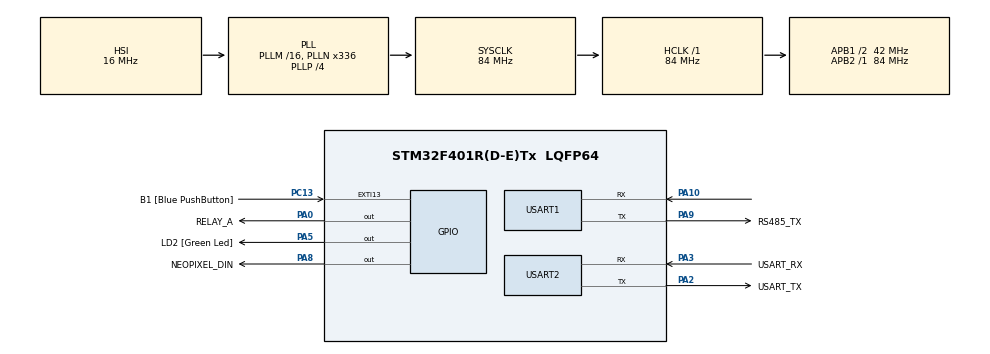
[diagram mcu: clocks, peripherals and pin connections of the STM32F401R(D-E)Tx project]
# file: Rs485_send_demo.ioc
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FREERTOS.Tasks01=defaultTask,24,128,StartDefaultTask,Default,NULL,Dynamic,NULL,NULL
Mcu.Family=STM32F4
Mcu.Name=STM32F401R(D-E)Tx
Mcu.Package=LQFP64
NVIC.PriorityGroup=NVIC_PRIORITYGROUP_4
PA0-WKUP.GPIO_Label=RELAY_A
PA0-WKUP.GPIO_Mode=GPIO_MODE_OUTPUT_PP
PA0-WKUP.GPIO_PuPd=GPIO_NOPULL
PA0-WKUP.GPIO_Speed=GPIO_SPEED_FREQ_LOW
PA0-WKUP.Signal=GPIO_Output
PA10.Mode=Asynchronous
PA10.Signal=USART1_RX
PA13.GPIO_Label=TMS
PA13.Mode=Trace_Asynchronous_SW
PA13.Signal=SYS_JTMS-SWDIO
PA14.GPIO_Label=TCK
PA14.Mode=Trace_Asynchronous_SW
PA14.Signal=SYS_JTCK-SWCLK
PA2.GPIO_Label=USART_TX
PA2.GPIO_Mode=GPIO_MODE_AF_PP
PA2.GPIO_PuPd=GPIO_NOPULL
PA2.GPIO_Speed=GPIO_SPEED_FREQ_LOW
PA2.Mode=Asynchronous
PA2.Signal=USART2_TX
PA3.GPIO_Label=USART_RX
PA3.GPIO_Mode=GPIO_MODE_AF_PP
PA3.GPIO_PuPd=GPIO_NOPULL
PA3.GPIO_Speed=GPIO_SPEED_FREQ_LOW
PA3.Mode=Asynchronous
PA3.Signal=USART2_RX
PA5.GPIO_Label=LD2 [Green Led]
PA5.GPIO_Mode=GPIO_MODE_OUTPUT_PP
PA5.GPIO_PuPd=GPIO_NOPULL
PA5.GPIO_Speed=GPIO_SPEED_FREQ_LOW
PA5.Signal=GPIO_Output
PA8.GPIO_Label=NEOPIXEL_DIN
PA8.GPIO_Speed=GPIO_SPEED_FREQ_VERY_HIGH
PA8.Signal=GPIO_Output
PA9.GPIO_Label=RS485_TX
PA9.GPIO_Mode=GPIO_MODE_AF_PP
PA9.GPIO_PuPd=GPIO_NOPULL
PA9.GPIO_Speed=GPIO_SPEED_FREQ_LOW
PA9.Mode=Asynchronous
PA9.Signal=USART1_TX
PB3.GPIO_Label=SWO
PB3.Mode=Trace_Asynchronous_SW
PB3.Signal=SYS_JTDO-SWO
PC13-ANTI_TAMP.GPIO_Label=B1 [Blue PushButton]
PC13-ANTI_TAMP.GPIO_ModeDefaultEXTI=GPIO_MODE_IT_FALLING
PC13-ANTI_TAMP.GPIO_PuPd=GPIO_NOPULL
PC13-ANTI_TAMP.Signal=GPXTI13
PC14-OSC32_IN.Mode=LSE-External-Oscillator
PC14-OSC32_IN.Signal=RCC_OSC32_IN
PC15-OSC32_OUT.Mode=LSE-External-Oscillator
PC15-OSC32_OUT.Signal=RCC_OSC32_OUT
PH0\ -\ OSC_IN.Mode=HSE-External-Clock-Source
PH0\ -\ OSC_IN.Signal=RCC_OSC_IN
PH1\ -\ OSC_OUT.Mode=HSE-External-Clock-Source
PH1\ -\ OSC_OUT.Signal=RCC_OSC_OUT
ProjectManager.HeapSize=0x200
ProjectManager.StackSize=0x400
ProjectManager.TargetToolchain=STM32CubeIDE
RCC.48MHZClocksFreq_Value=48000000
RCC.AHBFreq_Value=84000000
RCC.APB1CLKDivider=RCC_HCLK_DIV2
RCC.APB1Freq_Value=42000000
RCC.APB1TimFreq_Value=84000000
RCC.APB2Freq_Value=84000000
RCC.APB2TimFreq_Value=84000000
RCC.CortexFreq_Value=84000000
RCC.HCLKFreq_Value=84000000
RCC.HSE_VALUE=8000000
RCC.HSI_VALUE=16000000
RCC.PLLN=336
RCC.PLLP=RCC_PLLP_DIV4
RCC.PLLQ=7
RCC.SYSCLKFreq_VALUE=84000000
RCC.SYSCLKSource=RCC_SYSCLKSOURCE_PLLCLK
RCC.VCOOutputFreq_Value=336000000
USART1.VirtualMode=VM_ASYNC
USART2.VirtualMode=VM_ASYNC
VP_FREERTOS_VS_CMSIS_V2.Mode=CMSIS_V2
board=NUCLEO-F401RE

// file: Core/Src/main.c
/* USER CODE BEGIN Header */
/**
  ******************************************************************************
  * @file           : main.c
  * @brief          : Main program body
  ******************************************************************************
  * @attention
  *
  * Copyright (c) 2026 STMicroelectronics.
  * All rights reserved.
  *
  * This software is licensed under terms that can be found in the LICENSE file
  * in the root directory of this software component.
  * If no LICENSE file comes with this software, it is provided AS-IS.
  *
  ******************************************************************************
  */
/* USER CODE END Header */
#include "main.h"
#include "cmsis_os.h"

/* USER CODE BEGIN Includes */
#include "veda_channel.h"
#include "veda_config.h"
#include "veda_downlink.h"
#include "veda_isr.h"
#include "veda_rpi.h"
#include "veda_rs485.h"
#include "veda_supervisor.h"
#include "veda_tasks.h"
#include "veda_types.h"
#include "veda_uplink.h"
/* USER CODE END Includes */

UART_HandleTypeDef huart1;
UART_HandleTypeDef huart2;

/* Definitions for defaultTask */
osThreadId_t defaultTaskHandle;
const osThreadAttr_t defaultTask_attributes = {
  .name = "defaultTask",
  .stack_size = 128 * 4,
  .priority = (osPriority_t) osPriorityNormal,
};

void SystemClock_Config(void);
static void MX_GPIO_Init(void);
static void MX_USART1_UART_Init(void);
static void MX_USART2_UART_Init(void);
void StartDefaultTask(void *argument);

int main(void)
{

  /* MCU Configuration--------------------------------------------------------*/

  /* Reset of all peripherals, Initializes the Flash interface and the Systick. */
  HAL_Init();

  /* Configure the system clock */
  SystemClock_Config();

  /* Initialize all configured peripherals */
  MX_GPIO_Init();
  MX_USART1_UART_Init();
  MX_USART2_UART_Init();
  /* USER CODE BEGIN 2 */
  veda_rpi_uart_init();
  channel_boot_state_init();
  /* USER CODE END 2 */

  /* Init scheduler */
  osKernelInitialize();

  /* USER CODE BEGIN RTOS_MUTEX */
  if (veda_channel_mutex_create() == 0U)
  {
    Error_Handler();
  }
  /* USER CODE END RTOS_MUTEX */

  /* USER CODE BEGIN RTOS_QUEUES */
  if ((veda_downlink_queue_create() == 0U) || (veda_tasks_queue_create() == 0U) ||
      (veda_uplink_queue_create() == 0U) || (veda_rs485_queue_create() == 0U))
  {
    Error_Handler();
  }
  /* USER CODE END RTOS_QUEUES */

  /* Create the thread(s) */
  /* creation of defaultTask */
  defaultTaskHandle = osThreadNew(StartDefaultTask, NULL, &defaultTask_attributes);

  /* USER CODE BEGIN RTOS_THREADS */
  if ((defaultTaskHandle == NULL) || (veda_tasks_create() == 0U))
  {
    Error_Handler();
  }
  /* USER CODE END RTOS_THREADS */

  /* Start scheduler */
  osKernelStart();

  /* We should never get here as control is now taken by the scheduler */

  /* Infinite loop */
  while (1)
  {

  }
}

void SystemClock_Config(void)
{
  RCC_OscInitTypeDef RCC_OscInitStruct = {0};
  RCC_ClkInitTypeDef RCC_ClkInitStruct = {0};

  /** Configure the main internal regulator output voltage
  */
  __HAL_RCC_PWR_CLK_ENABLE();
  __HAL_PWR_VOLTAGESCALING_CONFIG(PWR_REGULATOR_VOLTAGE_SCALE2);

  /** Initializes the RCC Oscillators according to the specified parameters
  * in the RCC_OscInitTypeDef structure.
  */
  RCC_OscInitStruct.OscillatorType = RCC_OSCILLATORTYPE_HSI;
  RCC_OscInitStruct.HSIState = RCC_HSI_ON;
  RCC_OscInitStruct.HSICalibrationValue = RCC_HSICALIBRATION_DEFAULT;
  RCC_OscInitStruct.PLL.PLLState = RCC_PLL_ON;
  RCC_OscInitStruct.PLL.PLLSource = RCC_PLLSOURCE_HSI;
  RCC_OscInitStruct.PLL.PLLM = 16;
  RCC_OscInitStruct.PLL.PLLN = 336;
  RCC_OscInitStruct.PLL.PLLP = RCC_PLLP_DIV4;
  RCC_OscInitStruct.PLL.PLLQ = 7;
  if (HAL_RCC_OscConfig(&RCC_OscInitStruct) != HAL_OK)
  {
    Error_Handler();
  }

  /** Initializes the CPU, AHB and APB buses clocks
  */
  RCC_ClkInitStruct.ClockType = RCC_CLOCKTYPE_HCLK|RCC_CLOCKTYPE_SYSCLK
                              |RCC_CLOCKTYPE_PCLK1|RCC_CLOCKTYPE_PCLK2;
  RCC_ClkInitStruct.SYSCLKSource = RCC_SYSCLKSOURCE_PLLCLK;
  RCC_ClkInitStruct.AHBCLKDivider = RCC_SYSCLK_DIV1;
  RCC_ClkInitStruct.APB1CLKDivider = RCC_HCLK_DIV2;
  RCC_ClkInitStruct.APB2CLKDivider = RCC_HCLK_DIV1;

  if (HAL_RCC_ClockConfig(&RCC_ClkInitStruct, FLASH_LATENCY_2) != HAL_OK)
  {
    Error_Handler();
  }
}

static void MX_USART1_UART_Init(void)
{

  huart1.Instance = USART1;
  huart1.Init.BaudRate = 115200;
  huart1.Init.WordLength = UART_WORDLENGTH_8B;
  huart1.Init.StopBits = UART_STOPBITS_1;
  huart1.Init.Parity = UART_PARITY_NONE;
  huart1.Init.Mode = UART_MODE_TX_RX;
  huart1.Init.HwFlowCtl = UART_HWCONTROL_NONE;
  huart1.Init.OverSampling = UART_OVERSAMPLING_16;
  if (HAL_UART_Init(&huart1) != HAL_OK)
  {
    Error_Handler();
  }

}

static void MX_USART2_UART_Init(void)
{

  huart2.Instance = USART2;
  huart2.Init.BaudRate = 115200;
  huart2.Init.WordLength = UART_WORDLENGTH_8B;
  huart2.Init.StopBits = UART_STOPBITS_1;
  huart2.Init.Parity = UART_PARITY_NONE;
  huart2.Init.Mode = UART_MODE_TX_RX;
  huart2.Init.HwFlowCtl = UART_HWCONTROL_NONE;
  huart2.Init.OverSampling = UART_OVERSAMPLING_16;
  if (HAL_UART_Init(&huart2) != HAL_OK)
  {
    Error_Handler();
  }

}

static void MX_GPIO_Init(void)
{
  GPIO_InitTypeDef GPIO_InitStruct = {0};

  /* GPIO Ports Clock Enable */
  __HAL_RCC_GPIOC_CLK_ENABLE();
  __HAL_RCC_GPIOH_CLK_ENABLE();
  __HAL_RCC_GPIOA_CLK_ENABLE();
  __HAL_RCC_GPIOB_CLK_ENABLE();

  /*Configure GPIO pin Output Level */
  HAL_GPIO_WritePin(GPIOA, RELAY_A_Pin|LD2_Pin|NEOPIXEL_DIN_Pin, GPIO_PIN_RESET);

  /*Configure GPIO pin : B1_Pin */
  GPIO_InitStruct.Pin = B1_Pin;
  GPIO_InitStruct.Mode = GPIO_MODE_IT_FALLING;
  GPIO_InitStruct.Pull = GPIO_NOPULL;
  HAL_GPIO_Init(B1_GPIO_Port, &GPIO_InitStruct);

  /*Configure GPIO pins : RELAY_A_Pin LD2_Pin */
  GPIO_InitStruct.Pin = RELAY_A_Pin|LD2_Pin;
  GPIO_InitStruct.Mode = GPIO_MODE_OUTPUT_PP;
  GPIO_InitStruct.Pull = GPIO_NOPULL;
  GPIO_InitStruct.Speed = GPIO_SPEED_FREQ_LOW;
  HAL_GPIO_Init(GPIOA, &GPIO_InitStruct);

  /*Configure GPIO pin : NEOPIXEL_DIN_Pin */
  GPIO_InitStruct.Pin = NEOPIXEL_DIN_Pin;
  GPIO_InitStruct.Mode = GPIO_MODE_OUTPUT_PP;
  GPIO_InitStruct.Pull = GPIO_NOPULL;
  GPIO_InitStruct.Speed = GPIO_SPEED_FREQ_VERY_HIGH;
  HAL_GPIO_Init(NEOPIXEL_DIN_GPIO_Port, &GPIO_InitStruct);

}

void StartDefaultTask(void *argument)
{
  /* USER CODE BEGIN 5 */
  (void)argument;

  veda_supervisor_run();
  /* USER CODE END 5 */
}

void Error_Handler(void)
{
  __disable_irq();
  while (1)
  {
  }
}
